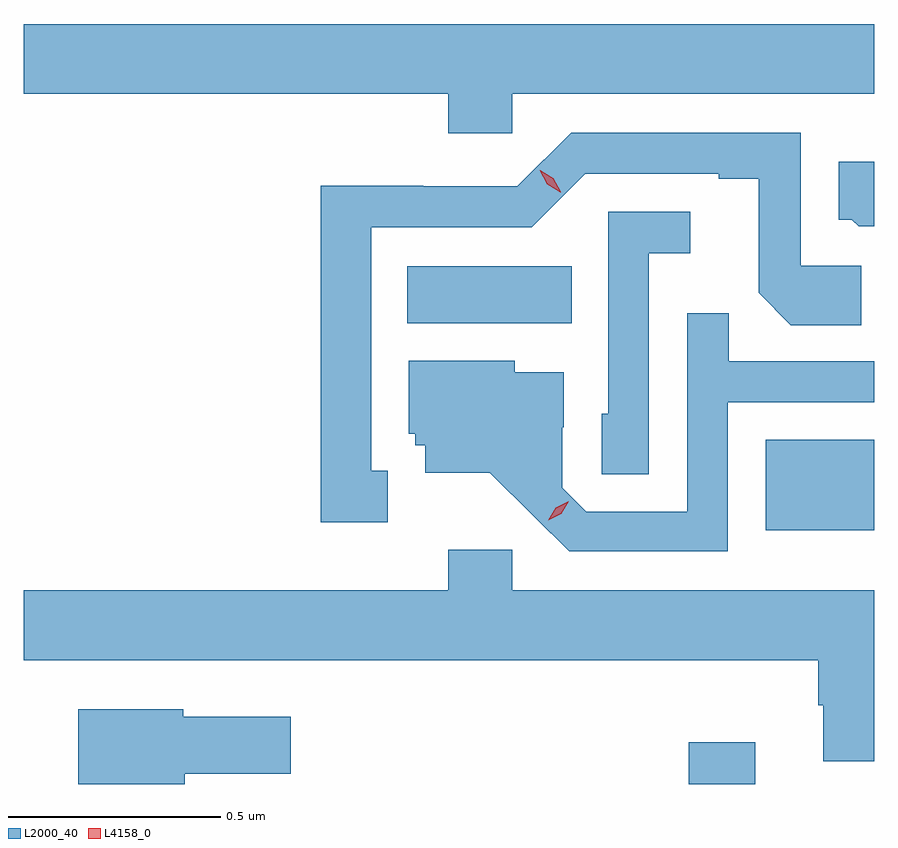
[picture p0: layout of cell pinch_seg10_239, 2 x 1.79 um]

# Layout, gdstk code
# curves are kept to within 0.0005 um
import gdstk
lib = gdstk.Library(unit=1e-6, precision=1e-09)
def R(c, l, rs):  # rectangles x0, y0, x1, y1
    for r in rs: c.add(gdstk.rectangle(r[:2], r[2:], *l))
def P(c, l, *ps):  # polygons
    for p in ps: c.add(gdstk.Polygon(p, *l))
L2000_40 = (2000, 40)
L4158_0 = (4158, 0)

pinch_seg10_239 = lib.new_cell('pinch_seg10_239')
R(pinch_seg10_239, L2000_40, [(622.879,1300.025,623.035,1300.123), (623.06,1300.622,623.315,1300.834), (622.217,1301.108,622.604,1301.242)])
P(pinch_seg10_239, L2000_40, [(622.464,1301.648),(623.315,1301.648),(623.315,1301.812),(621.315,1301.812),(621.315,1301.648),(622.313,1301.648),(622.313,1301.555),(622.464,1301.555)],
  [(622.171,1300.761),(622.132,1300.761),(622.132,1301.334),(622.509,1301.334),(622.635,1301.46),(622.949,1301.46),(622.949,1301.448),(623.043,1301.448),(623.043,1301.18),(623.119,1301.104),(623.284,1301.104),(623.284,1301.244),(623.142,1301.244),(623.142,1301.556),(622.602,1301.556),(622.476,1301.43),(622.254,1301.43),(622.254,1301.432),(622.014,1301.432),(622.014,1300.641),(622.171,1300.641)],
  [(623.315,1301.488),(623.231,1301.488),(623.231,1301.352),(623.262,1301.352),(623.278,1301.336),(623.315,1301.336)],
  [(622.785,1301.273),(622.882,1301.273),(622.882,1301.37),(622.689,1301.37),(622.689,1300.896),(622.674,1300.896),(622.674,1300.753),(622.785,1300.753)],
  [(622.971,1300.923),(623.315,1300.923),(623.315,1301.019),(622.973,1301.019),(622.973,1301.132),(622.875,1301.132),(622.875,1300.665),(622.638,1300.665),(622.581,1300.722),(622.581,1300.864),(622.585,1300.864),(622.585,1300.993),(622.47,1300.993),(622.47,1301.02),(622.22,1301.02),(622.22,1300.848),(622.236,1300.848),(622.236,1300.821),(622.259,1300.821),(622.259,1300.757),(622.411,1300.757),(622.598,1300.572),(622.971,1300.572)],
  [(623.315,1300.48),(622.464,1300.48),(622.464,1300.576),(622.313,1300.576),(622.313,1300.48),(621.315,1300.48),(621.315,1300.316),(623.183,1300.316),(623.183,1300.21),(623.195,1300.21),(623.195,1300.078),(623.315,1300.078)],
  [(621.694,1300.049),(621.943,1300.049),(621.943,1300.183),(621.69,1300.183),(621.69,1300.201),(621.443,1300.201),(621.443,1300.025),(621.694,1300.025)])
P(pinch_seg10_239, L4158_0, [(622.548,1300.645),(622.548,1300.645),(622.566,1300.675),(622.596,1300.69),(622.597,1300.69),(622.597,1300.69),(622.579,1300.66),(622.548,1300.645)],
  [(622.577,1301.416),(622.546,1301.435),(622.528,1301.468),(622.528,1301.468),(622.529,1301.468),(622.56,1301.449),(622.578,1301.417),(622.578,1301.416)])

lib.write_gds('pinch_seg10_239.gds')
